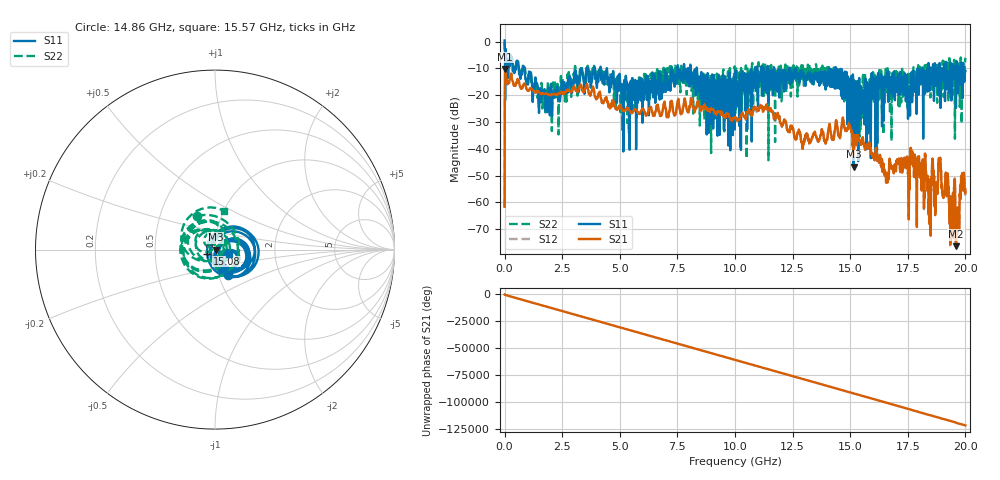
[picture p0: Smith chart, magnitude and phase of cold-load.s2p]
! MS46122B
! 2250307/22442219
! 2/18/2026 9:25:41 AM
! C:\USERS\SPARKY\DOCUMENTS\VNA_DATA\FEB18_2026\COLD-LOAD.S2P
! CHANNEL.1
! TR.MEASUREMENT
! RAW.DATA
# GHZ S RI R 50.0
! FREQ.GHZ  S11RE  S11IM  S21RE  S21IM  S12RE  S12IM  S22RE  S22IM
!; PortSelection: Port_12
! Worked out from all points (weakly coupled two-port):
!   10001 points, 1 MHz to 20 GHz, reference 50 ohm
!   highest |S21| = -10.24 dB at 25 MHz (marker M1); lowest = -76.4 dB at 19.59 GHz (marker M2)
!   lowest |S11| = -46.7 dB at 15.15 GHz (marker M3), VSWR 1.01, Z = 50.5 + j0.0513 ohm
!   |S11| at or under -10 dB: 867.8 MHz to 3.563 GHz (2.695 GHz wide, 122 % of centre); 4.443 GHz to 7.229 GHz (2.786 GHz wide, 47.7 % of centre); 14.38 GHz to 18.12 GHz (3.744 GHz wide, 23 % of centre) (the widest 3 of 46)
!   |S22| runs from -44.5 to -0.2 dB; largest |S21 - S12| = 0.024
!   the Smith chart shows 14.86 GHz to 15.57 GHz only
!   S11 on the Smith chart (normalised r, x): 14.86 GHz: 1.10, -0.32; 15.08 GHz: 0.92, -0.04; 15.57 GHz: 1.17, -0.05
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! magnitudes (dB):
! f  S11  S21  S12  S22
! 1 MHz  0.4  -61.6  -61.7  -0.2
! 25 MHz  -16.8  -10.2  -10.6  -2.7
! 117 MHz  -6.4  -15.6  -15.7  -9.2
! 1.723 GHz  -17.9  -19.5  -19.5  -23.2
! 3.335 GHz  -11.5  -16.7  -16.8  -8.9
! 5.389 GHz  -16.7  -25.3  -25.2  -29.0
! 6.669 GHz  -14.5  -24.8  -24.9  -12.9
! 7.795 GHz  -8.6  -22.1  -22.1  -9.9
! 8.967 GHz  -23.7  -25.1  -25.2  -27.8
! 10 GHz  -15.0  -28.6  -28.2  -12.2
! 11.39 GHz  -14.9  -24.4  -24.5  -15.6
! 13.33 GHz  -15.2  -35.9  -36.3  -14.6
! 14.86 GHz  -16.0  -32.7  -32.5  -13.5
! 15.08 GHz  -26.1  -33.8  -33.8  -15.4
! 15.15 GHz  -46.7  -40.9  -41.0  -19.5
! 15.57 GHz  -21.6  -37.4  -37.5  -13.1
! 16.67 GHz  -17.8  -50.8  -50.9  -15.3
! 17.71 GHz  -14.6  -44.5  -44.6  -19.9
! 18.44 GHz  -17.3  -54.8  -54.9  -10.5
! 18.89 GHz  -9.0  -43.8  -43.9  -11.7
! 19.59 GHz  -23.5  -76.4  -75.0  -6.8
! 20 GHz  -11.0  -55.1  -56.0  -6.1
